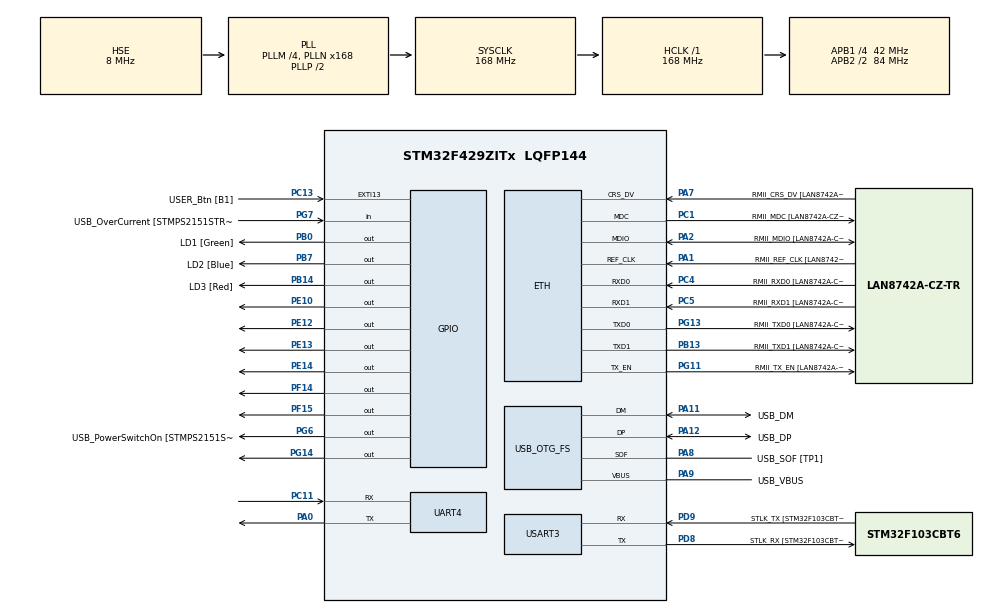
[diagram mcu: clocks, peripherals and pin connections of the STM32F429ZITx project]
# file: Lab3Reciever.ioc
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Dma.Request0=USART3_RX
Dma.USART3_RX.0.Direction=DMA_PERIPH_TO_MEMORY
Dma.USART3_RX.0.FIFOMode=DMA_FIFOMODE_DISABLE
Dma.USART3_RX.0.Instance=DMA1_Stream1
Dma.USART3_RX.0.MemDataAlignment=DMA_MDATAALIGN_BYTE
Dma.USART3_RX.0.MemInc=DMA_MINC_ENABLE
Dma.USART3_RX.0.Mode=DMA_NORMAL
Dma.USART3_RX.0.PeriphDataAlignment=DMA_PDATAALIGN_BYTE
Dma.USART3_RX.0.PeriphInc=DMA_PINC_DISABLE
Dma.USART3_RX.0.Priority=DMA_PRIORITY_LOW
ETH.MediaInterface=HAL_ETH_RMII_MODE
ETH.PHY_Name=LAN8742A_PHY_ADDRESS
ETH.PHY_Value=0
ETH.PhyAddress=0
Mcu.Family=STM32F4
Mcu.Name=STM32F429ZITx
Mcu.Package=LQFP144
NVIC.DMA1_Stream1_IRQn=true\:0\:0\:false\:false\:true\:false\:true\:true
NVIC.PriorityGroup=NVIC_PRIORITYGROUP_4
PA0/WKUP.Mode=Asynchronous
PA0/WKUP.Signal=UART4_TX
PA1.GPIO_Label=RMII_REF_CLK [LAN8742A-CZ-TR_REFCLK0]
PA1.Mode=RMII
PA1.Signal=ETH_REF_CLK
PA10.GPIO_Label=USB_ID
PA10.Signal=USB_OTG_FS_ID
PA11.GPIO_Label=USB_DM
PA11.Mode=Device_Only
PA11.Signal=USB_OTG_FS_DM
PA12.GPIO_Label=USB_DP
PA12.Mode=Device_Only
PA12.Signal=USB_OTG_FS_DP
PA13.GPIO_Label=TMS
PA13.Mode=Serial_Wire
PA13.Signal=SYS_JTMS-SWDIO
PA14.GPIO_Label=TCK
PA14.Mode=Serial_Wire
PA14.Signal=SYS_JTCK-SWCLK
PA2.GPIO_Label=RMII_MDIO [LAN8742A-CZ-TR_MDIO]
PA2.Mode=RMII
PA2.Signal=ETH_MDIO
PA7.GPIO_Label=RMII_CRS_DV [LAN8742A-CZ-TR_CRS_DV]
PA7.Mode=RMII
PA7.Signal=ETH_CRS_DV
PA8.GPIO_Label=USB_SOF [TP1]
PA8.Mode=Activate_SOF_FS
PA8.Signal=USB_OTG_FS_SOF
PA9.GPIO_Label=USB_VBUS
PA9.Mode=Activate_VBUS
PA9.Signal=USB_OTG_FS_VBUS
PB0.GPIO_Label=LD1 [Green]
PB0.Signal=GPIO_Output
PB13.GPIO_Label=RMII_TXD1 [LAN8742A-CZ-TR_TXD1]
PB13.Mode=RMII
PB13.Signal=ETH_TXD1
PB14.GPIO_Label=LD3 [Red]
PB14.Signal=GPIO_Output
PB7.GPIO_Label=LD2 [Blue]
PB7.Signal=GPIO_Output
PC1.GPIO_Label=RMII_MDC [LAN8742A-CZ-TR_MDC]
PC1.Mode=RMII
PC1.Signal=ETH_MDC
PC11.Mode=Asynchronous
PC11.Signal=UART4_RX
PC13.GPIO_Label=USER_Btn [B1]
PC13.Signal=GPXTI13
PC14/OSC32_IN.Mode=LSE-External-Oscillator
PC14/OSC32_IN.Signal=RCC_OSC32_IN
PC15/OSC32_OUT.Mode=LSE-External-Oscillator
PC15/OSC32_OUT.Signal=RCC_OSC32_OUT
PC4.GPIO_Label=RMII_RXD0 [LAN8742A-CZ-TR_RXD0]
PC4.Mode=RMII
PC4.Signal=ETH_RXD0
PC5.GPIO_Label=RMII_RXD1 [LAN8742A-CZ-TR_RXD1]
PC5.Mode=RMII
PC5.Signal=ETH_RXD1
PD8.GPIO_Label=STLK_RX [STM32F103CBT6_PA3]
PD8.Mode=Asynchronous
PD8.Signal=USART3_TX
PD9.GPIO_Label=STLK_TX [STM32F103CBT6_PA2]
PD9.Mode=Asynchronous
PD9.Signal=USART3_RX
PE10.Signal=GPIO_Output
PE12.Signal=GPIO_Output
PE13.Signal=GPIO_Output
PE14.Signal=GPIO_Output
PF14.Signal=GPIO_Output
PF15.Signal=GPIO_Output
PG11.GPIO_Label=RMII_TX_EN [LAN8742A-CZ-TR_TXEN]
PG11.Mode=RMII
PG11.Signal=ETH_TX_EN
PG13.GPIO_Label=RMII_TXD0 [LAN8742A-CZ-TR_TXD0]
PG13.Mode=RMII
PG13.Signal=ETH_TXD0
PG14.Signal=GPIO_Output
PG6.GPIO_Label=USB_PowerSwitchOn [STMPS2151STR_EN]
PG6.Signal=GPIO_Output
PG7.GPIO_Label=USB_OverCurrent [STMPS2151STR_FAULT]
PG7.Signal=GPIO_Input
PH0/OSC_IN.GPIO_Label=MCO [STM32F103CBT6_PA8]
PH0/OSC_IN.Mode=HSE-External-Clock-Source
PH0/OSC_IN.Signal=RCC_OSC_IN
PH1/OSC_OUT.Mode=HSE-External-Clock-Source
PH1/OSC_OUT.Signal=RCC_OSC_OUT
ProjectManager.HeapSize=0x200
ProjectManager.StackSize=0x400
ProjectManager.TargetToolchain=MDK-ARM V5.32
RCC.48MHZClocksFreq_Value=48000000
RCC.AHBFreq_Value=168000000
RCC.APB1CLKDivider=RCC_HCLK_DIV4
RCC.APB1Freq_Value=42000000
RCC.APB1TimFreq_Value=84000000
RCC.APB2CLKDivider=RCC_HCLK_DIV2
RCC.APB2Freq_Value=84000000
RCC.APB2TimCLKDivider=2
RCC.APB2TimFreq_Value=168000000
RCC.CortexFreq_Value=168000000
RCC.HCLKFreq_Value=168000000
RCC.HSE_VALUE=8000000
RCC.HSI_VALUE=16000000
RCC.PLLM=4
RCC.PLLMUL=RCC_PLL_MUL9
RCC.PLLN=168
RCC.PLLQ=7
RCC.PRESCALERUSB=RCC_USBCLKSOURCE_PLL_DIV1_5
RCC.SYSCLKFreq_VALUE=168000000
RCC.SYSCLKSource=RCC_SYSCLKSOURCE_PLLCLK
RCC.SYSCLKSourceVirtual=RCC_SYSCLKSOURCE_PLLCLK
RCC.USBFreq_Value=48000000
RCC.VCOOutputFreq_Value=336000000
UART4.VirtualMode=Asynchronous
USART3.VirtualMode=VM_ASYNC
USB_OTG_FS.VirtualMode=Device_Only
VP_TIM2_VS_ClockSourceITR.Mode=TriggerSource_ITR0
VP_TIM2_VS_ControllerModeClock.Mode=Clock Mode
board=NUCLEO-F429ZI

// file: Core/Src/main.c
/* USER CODE BEGIN Header */
/**
  ******************************************************************************
  * @file           : main.c
  * @brief          : Main program body
  ******************************************************************************
  * @attention
  *
  * Copyright (c) 2023 STMicroelectronics.
  * All rights reserved.
  *
  * This software is licensed under terms that can be found in the LICENSE file
  * in the root directory of this software component.
  * If no LICENSE file comes with this software, it is provided AS-IS.
  *
  ******************************************************************************
  */
/* USER CODE END Header */
#include "main.h"
#include "string.h"

/* USER CODE BEGIN PD */
#define RS 14
#define RW 12
#define EN 10
#define DB4 14
#define DB5 15
#define DB6 13
#define DB7 14
/* USER CODE END PD */

ETH_TxPacketConfig TxConfig;
ETH_DMADescTypeDef  DMARxDscrTab[ETH_RX_DESC_CNT]; /* Ethernet Rx DMA Descriptors */
ETH_DMADescTypeDef  DMATxDscrTab[ETH_TX_DESC_CNT]; /* Ethernet Tx DMA Descriptors */

ETH_HandleTypeDef heth;

TIM_HandleTypeDef htim2;

UART_HandleTypeDef huart4;
UART_HandleTypeDef huart3;
DMA_HandleTypeDef hdma_usart3_rx;

PCD_HandleTypeDef hpcd_USB_OTG_FS;

void SystemClock_Config(void);
static void MX_GPIO_Init(void);
static void MX_DMA_Init(void);
static void MX_ETH_Init(void);
static void MX_USART3_UART_Init(void);
static void MX_USB_OTG_FS_PCD_Init(void);
static void MX_TIM2_Init(void);
static void MX_UART4_Init(void);
void LCD_pin_set(unsigned int);

/* USER CODE BEGIN 0 */
void LCD_port_init(int x);
void LCD_init(void);
void LCD_sendData(unsigned int bits);
void LCD_sendData(unsigned int bits);
void LCD_sendInstr(unsigned int high, unsigned int low);
void place_LCD_cursor(int num);
void delay(int num);
void setBits(char);
void intToChar(int num);
void doubleToLCD(double num, int sigfig);
void check_BF(void);
void switch_line(int line);
/* USER CODE END 0 */

int main(void)
{

  /* MCU Configuration--------------------------------------------------------*/

  /* Reset of all peripherals, Initializes the Flash interface and the Systick. */
  HAL_Init();

  /* Configure the system clock */
  SystemClock_Config();

  /* Initialize all configured peripherals */
  MX_GPIO_Init();
  MX_DMA_Init();
  MX_ETH_Init();
  MX_USART3_UART_Init();
  MX_USB_OTG_FS_PCD_Init();
  MX_TIM2_Init();
  MX_UART4_Init();
	LCD_init();

	switch_line(1);
	/*
	LCD_sendData('H');
	LCD_sendData('E');
	LCD_sendData('L');
	LCD_sendData('L');
	LCD_sendData('O');
	*/
	switch_line(1);
  /* USER CODE BEGIN 2 */
	uint8_t pdata[10];
  /* USER CODE END 2 */

  /* Infinite loop */
  while (1)
  {
		//HAL_UART_Receive(&huart4, pdata, 8, 1000);
		//LCD_sendData('H');
		uint8_t rxdata;
		int disptemp;
		HAL_UART_Receive(&huart4, &rxdata, sizeof(rxdata), 1000);
		intToChar((int) rxdata);
		switch_line(1);
  }
}

void SystemClock_Config(void)
{
  RCC_OscInitTypeDef RCC_OscInitStruct = {0};
  RCC_ClkInitTypeDef RCC_ClkInitStruct = {0};

  /** Configure the main internal regulator output voltage
  */
  __HAL_RCC_PWR_CLK_ENABLE();
  __HAL_PWR_VOLTAGESCALING_CONFIG(PWR_REGULATOR_VOLTAGE_SCALE1);

  /** Initializes the RCC Oscillators according to the specified parameters
  * in the RCC_OscInitTypeDef structure.
  */
  RCC_OscInitStruct.OscillatorType = RCC_OSCILLATORTYPE_HSE;
  RCC_OscInitStruct.HSEState = RCC_HSE_BYPASS;
  RCC_OscInitStruct.PLL.PLLState = RCC_PLL_ON;
  RCC_OscInitStruct.PLL.PLLSource = RCC_PLLSOURCE_HSE;
  RCC_OscInitStruct.PLL.PLLM = 4;
  RCC_OscInitStruct.PLL.PLLN = 168;
  RCC_OscInitStruct.PLL.PLLP = RCC_PLLP_DIV2;
  RCC_OscInitStruct.PLL.PLLQ = 7;
  if (HAL_RCC_OscConfig(&RCC_OscInitStruct) != HAL_OK)
  {
    Error_Handler();
  }

  /** Initializes the CPU, AHB and APB buses clocks
  */
  RCC_ClkInitStruct.ClockType = RCC_CLOCKTYPE_HCLK|RCC_CLOCKTYPE_SYSCLK
                              |RCC_CLOCKTYPE_PCLK1|RCC_CLOCKTYPE_PCLK2;
  RCC_ClkInitStruct.SYSCLKSource = RCC_SYSCLKSOURCE_PLLCLK;
  RCC_ClkInitStruct.AHBCLKDivider = RCC_SYSCLK_DIV1;
  RCC_ClkInitStruct.APB1CLKDivider = RCC_HCLK_DIV4;
  RCC_ClkInitStruct.APB2CLKDivider = RCC_HCLK_DIV2;

  if (HAL_RCC_ClockConfig(&RCC_ClkInitStruct, FLASH_LATENCY_5) != HAL_OK)
  {
    Error_Handler();
  }
}

static void MX_ETH_Init(void)
{

   static uint8_t MACAddr[6];

  heth.Instance = ETH;
  MACAddr[0] = 0x00;
  MACAddr[1] = 0x80;
  MACAddr[2] = 0xE1;
  MACAddr[3] = 0x00;
  MACAddr[4] = 0x00;
  MACAddr[5] = 0x00;
  heth.Init.MACAddr = &MACAddr[0];
  heth.Init.MediaInterface = HAL_ETH_RMII_MODE;
  heth.Init.TxDesc = DMATxDscrTab;
  heth.Init.RxDesc = DMARxDscrTab;
  heth.Init.RxBuffLen = 1524;

  if (HAL_ETH_Init(&heth) != HAL_OK)
  {
    Error_Handler();
  }

  memset(&TxConfig, 0 , sizeof(ETH_TxPacketConfig));
  TxConfig.Attributes = ETH_TX_PACKETS_FEATURES_CSUM | ETH_TX_PACKETS_FEATURES_CRCPAD;
  TxConfig.ChecksumCtrl = ETH_CHECKSUM_IPHDR_PAYLOAD_INSERT_PHDR_CALC;
  TxConfig.CRCPadCtrl = ETH_CRC_PAD_INSERT;

}

static void MX_TIM2_Init(void)
{

  TIM_SlaveConfigTypeDef sSlaveConfig = {0};
  TIM_MasterConfigTypeDef sMasterConfig = {0};

  htim2.Instance = TIM2;
  htim2.Init.Prescaler = 0;
  htim2.Init.CounterMode = TIM_COUNTERMODE_UP;
  htim2.Init.Period = 4294967295;
  htim2.Init.ClockDivision = TIM_CLOCKDIVISION_DIV1;
  htim2.Init.AutoReloadPreload = TIM_AUTORELOAD_PRELOAD_DISABLE;
  if (HAL_TIM_Base_Init(&htim2) != HAL_OK)
  {
    Error_Handler();
  }
  sSlaveConfig.SlaveMode = TIM_SLAVEMODE_EXTERNAL1;
  sSlaveConfig.InputTrigger = TIM_TS_ITR0;
  if (HAL_TIM_SlaveConfigSynchro(&htim2, &sSlaveConfig) != HAL_OK)
  {
    Error_Handler();
  }
  sMasterConfig.MasterOutputTrigger = TIM_TRGO_RESET;
  sMasterConfig.MasterSlaveMode = TIM_MASTERSLAVEMODE_DISABLE;
  if (HAL_TIMEx_MasterConfigSynchronization(&htim2, &sMasterConfig) != HAL_OK)
  {
    Error_Handler();
  }

}

static void MX_UART4_Init(void)
{

  huart4.Instance = UART4;
  huart4.Init.BaudRate = 115200;
  huart4.Init.WordLength = UART_WORDLENGTH_8B;
  huart4.Init.StopBits = UART_STOPBITS_1;
  huart4.Init.Parity = UART_PARITY_NONE;
  huart4.Init.Mode = UART_MODE_TX_RX;
  huart4.Init.HwFlowCtl = UART_HWCONTROL_NONE;
  huart4.Init.OverSampling = UART_OVERSAMPLING_16;
  if (HAL_UART_Init(&huart4) != HAL_OK)
  {
    Error_Handler();
  }

}

static void MX_USART3_UART_Init(void)
{

  huart3.Instance = USART3;
  huart3.Init.BaudRate = 115200;
  huart3.Init.WordLength = UART_WORDLENGTH_8B;
  huart3.Init.StopBits = UART_STOPBITS_1;
  huart3.Init.Parity = UART_PARITY_NONE;
  huart3.Init.Mode = UART_MODE_TX_RX;
  huart3.Init.HwFlowCtl = UART_HWCONTROL_NONE;
  huart3.Init.OverSampling = UART_OVERSAMPLING_16;
  if (HAL_UART_Init(&huart3) != HAL_OK)
  {
    Error_Handler();
  }

}

static void MX_USB_OTG_FS_PCD_Init(void)
{

  hpcd_USB_OTG_FS.Instance = USB_OTG_FS;
  hpcd_USB_OTG_FS.Init.dev_endpoints = 4;
  hpcd_USB_OTG_FS.Init.speed = PCD_SPEED_FULL;
  hpcd_USB_OTG_FS.Init.dma_enable = DISABLE;
  hpcd_USB_OTG_FS.Init.phy_itface = PCD_PHY_EMBEDDED;
  hpcd_USB_OTG_FS.Init.Sof_enable = ENABLE;
  hpcd_USB_OTG_FS.Init.low_power_enable = DISABLE;
  hpcd_USB_OTG_FS.Init.lpm_enable = DISABLE;
  hpcd_USB_OTG_FS.Init.vbus_sensing_enable = ENABLE;
  hpcd_USB_OTG_FS.Init.use_dedicated_ep1 = DISABLE;
  if (HAL_PCD_Init(&hpcd_USB_OTG_FS) != HAL_OK)
  {
    Error_Handler();
  }

}

static void MX_DMA_Init(void)
{

  /* DMA controller clock enable */
  __HAL_RCC_DMA1_CLK_ENABLE();

  /* DMA interrupt init */
  /* DMA1_Stream1_IRQn interrupt configuration */
  HAL_NVIC_SetPriority(DMA1_Stream1_IRQn, 0, 0);
  HAL_NVIC_EnableIRQ(DMA1_Stream1_IRQn);

}

static void MX_GPIO_Init(void)
{
  GPIO_InitTypeDef GPIO_InitStruct = {0};

  /* GPIO Ports Clock Enable */
  __HAL_RCC_GPIOC_CLK_ENABLE();
  __HAL_RCC_GPIOH_CLK_ENABLE();
  __HAL_RCC_GPIOA_CLK_ENABLE();
  __HAL_RCC_GPIOB_CLK_ENABLE();
  __HAL_RCC_GPIOF_CLK_ENABLE();
  __HAL_RCC_GPIOE_CLK_ENABLE();
  __HAL_RCC_GPIOD_CLK_ENABLE();
  __HAL_RCC_GPIOG_CLK_ENABLE();

  /*Configure GPIO pin Output Level */
  HAL_GPIO_WritePin(GPIOB, LD1_Pin|LD3_Pin|LD2_Pin, GPIO_PIN_RESET);

  /*Configure GPIO pin Output Level */
  HAL_GPIO_WritePin(GPIOF, GPIO_PIN_14|GPIO_PIN_15, GPIO_PIN_RESET);

  /*Configure GPIO pin Output Level */
  HAL_GPIO_WritePin(GPIOE, GPIO_PIN_10|GPIO_PIN_12|GPIO_PIN_13|GPIO_PIN_14, GPIO_PIN_RESET);

  /*Configure GPIO pin Output Level */
  HAL_GPIO_WritePin(GPIOG, USB_PowerSwitchOn_Pin|GPIO_PIN_14, GPIO_PIN_RESET);

  /*Configure GPIO pin : USER_Btn_Pin */
  GPIO_InitStruct.Pin = USER_Btn_Pin;
  GPIO_InitStruct.Mode = GPIO_MODE_IT_RISING;
  GPIO_InitStruct.Pull = GPIO_NOPULL;
  HAL_GPIO_Init(USER_Btn_GPIO_Port, &GPIO_InitStruct);

  /*Configure GPIO pins : LD1_Pin LD3_Pin LD2_Pin */
  GPIO_InitStruct.Pin = LD1_Pin|LD3_Pin|LD2_Pin;
  GPIO_InitStruct.Mode = GPIO_MODE_OUTPUT_PP;
  GPIO_InitStruct.Pull = GPIO_NOPULL;
  GPIO_InitStruct.Speed = GPIO_SPEED_FREQ_LOW;
  HAL_GPIO_Init(GPIOB, &GPIO_InitStruct);

  /*Configure GPIO pins : PF14 PF15 */
  GPIO_InitStruct.Pin = GPIO_PIN_14|GPIO_PIN_15;
  GPIO_InitStruct.Mode = GPIO_MODE_OUTPUT_PP;
  GPIO_InitStruct.Pull = GPIO_NOPULL;
  GPIO_InitStruct.Speed = GPIO_SPEED_FREQ_LOW;
  HAL_GPIO_Init(GPIOF, &GPIO_InitStruct);

  /*Configure GPIO pins : PE10 PE12 PE13 PE14 */
  GPIO_InitStruct.Pin = GPIO_PIN_10|GPIO_PIN_12|GPIO_PIN_13|GPIO_PIN_14;
  GPIO_InitStruct.Mode = GPIO_MODE_OUTPUT_PP;
  GPIO_InitStruct.Pull = GPIO_NOPULL;
  GPIO_InitStruct.Speed = GPIO_SPEED_FREQ_LOW;
  HAL_GPIO_Init(GPIOE, &GPIO_InitStruct);

  /*Configure GPIO pins : USB_PowerSwitchOn_Pin PG14 */
  GPIO_InitStruct.Pin = USB_PowerSwitchOn_Pin|GPIO_PIN_14;
  GPIO_InitStruct.Mode = GPIO_MODE_OUTPUT_PP;
  GPIO_InitStruct.Pull = GPIO_NOPULL;
  GPIO_InitStruct.Speed = GPIO_SPEED_FREQ_LOW;
  HAL_GPIO_Init(GPIOG, &GPIO_InitStruct);

  /*Configure GPIO pin : USB_OverCurrent_Pin */
  GPIO_InitStruct.Pin = USB_OverCurrent_Pin;
  GPIO_InitStruct.Mode = GPIO_MODE_INPUT;
  GPIO_InitStruct.Pull = GPIO_NOPULL;
  HAL_GPIO_Init(USB_OverCurrent_GPIO_Port, &GPIO_InitStruct);

}

/* USER CODE BEGIN 4 */

void LCD_init() {

	//initialize
	HAL_GPIO_WritePin(GPIOE,GPIO_PIN_12, GPIO_PIN_RESET);
	HAL_GPIO_WritePin(GPIOE,GPIO_PIN_14, GPIO_PIN_RESET);
	delay(6000);

	LCD_sendInstr(3,3);
	LCD_sendInstr(3,2);

	LCD_sendInstr(0x2,0x8);
	LCD_sendInstr(0x0,0x8);
	LCD_sendInstr(0x0,0x1);
	LCD_sendInstr(0x0,0x6);
	LCD_sendInstr(0x0,0xf);

}

void LCD_sendData(unsigned int bits){
	unsigned int high;
	unsigned int low;

	high = bits&0xf0U;
	high = high/16;
	low = bits&0xfU;

	HAL_GPIO_WritePin(GPIOE,GPIO_PIN_12, GPIO_PIN_RESET);
	HAL_GPIO_WritePin(GPIOE,GPIO_PIN_14, GPIO_PIN_SET);
	HAL_GPIO_WritePin(GPIOE,GPIO_PIN_10, GPIO_PIN_SET);
	// high bits
	LCD_pin_set(high);

	HAL_GPIO_WritePin(GPIOE,GPIO_PIN_10, GPIO_PIN_RESET); //read

	check_BF();

	HAL_GPIO_WritePin(GPIOE,GPIO_PIN_12, GPIO_PIN_RESET);
	HAL_GPIO_WritePin(GPIOE,GPIO_PIN_14, GPIO_PIN_SET);
	HAL_GPIO_WritePin(GPIOE,GPIO_PIN_10, GPIO_PIN_SET);
	// high bits
	LCD_pin_set(low);

	HAL_GPIO_WritePin(GPIOE,GPIO_PIN_10, GPIO_PIN_RESET); //read
	check_BF();
}
void LCD_pin_set(unsigned int bits){
	if(bits&8){
		HAL_GPIO_WritePin(GPIOG,GPIO_PIN_14, GPIO_PIN_SET);
	}else{
		HAL_GPIO_WritePin(GPIOG,GPIO_PIN_14, GPIO_PIN_RESET);
	}

	if(bits&4){
		HAL_GPIO_WritePin(GPIOF,GPIO_PIN_15, GPIO_PIN_SET);
	}else{
		HAL_GPIO_WritePin(GPIOF,GPIO_PIN_15, GPIO_PIN_RESET);
	}

	if(bits&2){
		HAL_GPIO_WritePin(GPIOE,GPIO_PIN_13, GPIO_PIN_SET);
	}else{
		HAL_GPIO_WritePin(GPIOE,GPIO_PIN_13, GPIO_PIN_RESET);
	}

	if(bits&1){
		HAL_GPIO_WritePin(GPIOF,GPIO_PIN_14, GPIO_PIN_SET);
	}else{
		HAL_GPIO_WritePin(GPIOF,GPIO_PIN_14, GPIO_PIN_RESET);
	}

}
void LCD_sendInstr(unsigned int high, unsigned int low){
	HAL_GPIO_WritePin(GPIOE,GPIO_PIN_14, GPIO_PIN_RESET);
	HAL_GPIO_WritePin(GPIOE,GPIO_PIN_12, GPIO_PIN_RESET);
	// high bits
	LCD_pin_set(high);

	HAL_GPIO_WritePin(GPIOE,GPIO_PIN_10, GPIO_PIN_SET); HAL_GPIO_WritePin(GPIOE,GPIO_PIN_10, GPIO_PIN_RESET); //read
	delay(6000);

	HAL_GPIO_WritePin(GPIOE,GPIO_PIN_14, GPIO_PIN_RESET);
	HAL_GPIO_WritePin(GPIOE,GPIO_PIN_12, GPIO_PIN_RESET);
	// high bits
	LCD_pin_set(low);

	HAL_GPIO_WritePin(GPIOE,GPIO_PIN_10, GPIO_PIN_SET); HAL_GPIO_WritePin(GPIOE,GPIO_PIN_10, GPIO_PIN_RESET); //read
	delay(6000);
}
void place_LCD_cursor(int num){
	HAL_GPIO_WritePin(GPIOE,GPIO_PIN_14, GPIO_PIN_RESET);
	while(num>0) {
		LCD_sendInstr(0x1U, 0x6U);
		num--;
	}
}

void switch_line(int line) {
		if(line == 2){
			LCD_sendInstr(0xc, 0);
		}else if(line == 1){
			LCD_sendInstr(0x8U, 0x0);
		}
}

//delay 6000 for about 1 sec
void delay(int time){
	HAL_Delay(1000);
}

void intToChar(int num){
	char character;
	character = num%10 +'0';
	num = num /10;
	if(num!=0) {
		intToChar(num);
	}
	LCD_sendData(character);

}

void check_BF(void){
	HAL_GPIO_WritePin(GPIOE,GPIO_PIN_12, GPIO_PIN_SET);
	HAL_GPIO_WritePin(GPIOE,GPIO_PIN_14, GPIO_PIN_RESET);
	GPIOF->MODER &=~(3U<<DB7*2);
	HAL_GPIO_WritePin(GPIOE,GPIO_PIN_10, GPIO_PIN_SET);
	while(GPIOF->IDR & (1<<DB7)) {
		//delay(6000);
	}
	HAL_GPIO_WritePin(GPIOE,GPIO_PIN_10, GPIO_PIN_RESET);
	GPIOF->MODER &=~(3U<<DB7*2);
	GPIOF->MODER |=(1U<<DB7*2);
	HAL_GPIO_WritePin(GPIOE,GPIO_PIN_12, GPIO_PIN_RESET);
}
/* USER CODE END 4 */

void Error_Handler(void)
{
  __disable_irq();
  while (1)
  {
  }
}
